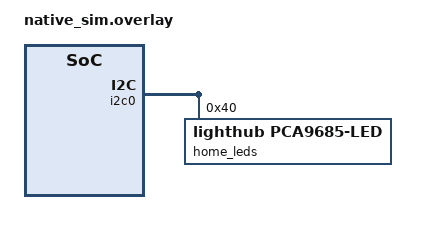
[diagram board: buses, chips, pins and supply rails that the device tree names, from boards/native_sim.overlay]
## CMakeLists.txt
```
cmake_minimum_required(VERSION 3.20.0)

# Let Zephyr find dts/bindings/ at the repo root. Must come before find_package,
# because devicetree is processed during find_package.
list(APPEND DTS_ROOT ${CMAKE_CURRENT_SOURCE_DIR}/../..)

find_package(Zephyr REQUIRED HINTS $ENV{ZEPHYR_BASE})
project(test_led_driver)

target_sources(app PRIVATE
    src/main.c
    ${CMAKE_CURRENT_SOURCE_DIR}/../../src/drivers/pca9685_led.c
)
target_include_directories(app PRIVATE ${CMAKE_CURRENT_SOURCE_DIR}/../../src/drivers)
```

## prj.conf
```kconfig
# Logging (LOG_ERR/WRN/INF/DBG). Default level is INF, so LOG_DBG is hidden.
CONFIG_LOG=y

CONFIG_I2C=y
CONFIG_EMUL=y
```

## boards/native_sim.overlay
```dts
&i2c0 {
    home_leds: led-controller@40 {
        compatible = "lighthub,pca9685-led";
        reg = <0x40>;
    };
};
```

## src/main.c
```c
#include <zephyr/kernel.h>
#include <zephyr/device.h>
#include <zephyr/logging/log.h>
LOG_MODULE_REGISTER(main, LOG_LEVEL_INF);

/*DT_NODELABEL(leds) finds the devicetree node with the label leds: from your overlay.
DEVICE_DT_GET(...) returns the device Zephyr created for that node, the one your DEVICE_DT_INST_DEFINE made.*/
const struct device *leds = DEVICE_DT_GET(DT_NODELABEL(home_leds));

int main(void){
if(device_is_ready(leds)){
    LOG_INF("DEVICE READY");
    return 0;
}else {
    LOG_WRN("DEVICE NOT READY");
    return 0;
}
}
```
